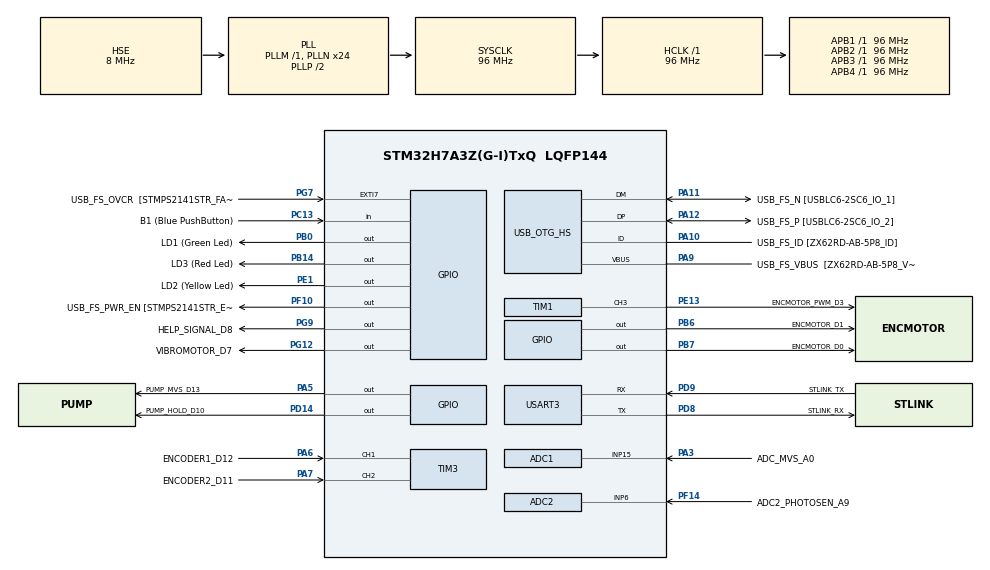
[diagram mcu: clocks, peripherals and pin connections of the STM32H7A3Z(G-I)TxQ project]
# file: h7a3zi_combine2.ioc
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ADC1.Channel-0\#ChannelRegularConversion=ADC_CHANNEL_15
ADC1.NbrOfConversionFlag=1
ADC1.OffsetNumber-0\#ChannelRegularConversion=ADC_OFFSET_NONE
ADC1.OffsetSignedSaturation-0\#ChannelRegularConversion=DISABLE
ADC1.Rank-0\#ChannelRegularConversion=1
ADC1.SamplingTime-0\#ChannelRegularConversion=ADC_SAMPLETIME_1CYCLE_5
ADC1.master=1
ADC2.Channel-1\#ChannelRegularConversion=ADC_CHANNEL_6
ADC2.NbrOfConversionFlag=1
ADC2.OffsetNumber-1\#ChannelRegularConversion=ADC_OFFSET_NONE
ADC2.OffsetSignedSaturation-1\#ChannelRegularConversion=DISABLE
ADC2.Rank-1\#ChannelRegularConversion=1
ADC2.SamplingTime-1\#ChannelRegularConversion=ADC_SAMPLETIME_1CYCLE_5
Mcu.Family=STM32H7
Mcu.Name=STM32H7A3Z(G-I)TxQ
Mcu.Package=LQFP144
NVIC.PriorityGroup=NVIC_PRIORITYGROUP_4
PA10.GPIO_Label=USB_FS_ID [ZX62RD-AB-5P8_ID]
PA10.Mode=OTG/Dual-Role-Device-FS
PA10.Signal=USB_OTG_HS_ID
PA11.GPIO_Label=USB_FS_N [USBLC6-2SC6_IO_1]
PA11.Mode=OTG/Dual-Role-Device-FS
PA11.Signal=USB_OTG_HS_DM
PA12.GPIO_Label=USB_FS_P [USBLC6-2SC6_IO_2]
PA12.Mode=OTG/Dual-Role-Device-FS
PA12.Signal=USB_OTG_HS_DP
PA3.GPIO_Label=ADC_MVS_A0
PA3.Mode=IN15-Single-Ended
PA3.Signal=ADC1_INP15
PA5.GPIO_Label=PUMP_MVS_D13
PA5.Signal=GPIO_Output
PA6.GPIO_Label=ENCODER1_D12
PA6.Signal=S_TIM3_CH1
PA7.GPIO_Label=ENCODER2_D11
PA7.Signal=S_TIM3_CH2
PA9.GPIO_Label=USB_FS_VBUS  [ZX62RD-AB-5P8_VBUS]
PA9.Mode=Activate_VBUS_FS
PA9.Signal=USB_OTG_HS_VBUS
PB0.GPIO_Label=LD1 (Green Led)
PB0.Signal=GPIO_Output
PB14.GPIO_Label=LD3 (Red Led)
PB14.Signal=GPIO_Output
PB6.GPIO_Label=ENCMOTOR_D1
PB6.GPIO_PuPd=GPIO_NOPULL
PB6.Signal=GPIO_Output
PB7.GPIO_Label=ENCMOTOR_D0
PB7.GPIO_PuPd=GPIO_NOPULL
PB7.Signal=GPIO_Output
PC13.GPIO_Label=B1 (Blue PushButton)
PC13.Signal=GPIO_Input
PC14-OSC32_IN.GPIO_Label=OSC32_IN
PC14-OSC32_IN.Mode=LSE-External-Oscillator
PC14-OSC32_IN.Signal=RCC_OSC32_IN
PC15-OSC32_OUT.GPIO_Label=OSC32_OUT
PC15-OSC32_OUT.Mode=LSE-External-Oscillator
PC15-OSC32_OUT.Signal=RCC_OSC32_OUT
PD14.GPIO_Label=PUMP_HOLD_D10
PD14.Signal=GPIO_Output
PD8.GPIO_Label=STLINK_RX
PD8.Mode=Asynchronous
PD8.Signal=USART3_TX
PD9.GPIO_Label=STLINK_TX
PD9.Mode=Asynchronous
PD9.Signal=USART3_RX
PE1.GPIO_Label=LD2 (Yellow Led)
PE1.Signal=GPIO_Output
PE13.GPIO_Label=ENCMOTOR_PWM_D3
PE13.Signal=S_TIM1_CH3
PF10.GPIO_Label=USB_FS_PWR_EN [STMPS2141STR_EN]
PF10.Signal=GPIO_Output
PF14.GPIO_Label=ADC2_PHOTOSEN_A9
PF14.Mode=IN6-Single-Ended
PF14.Signal=ADC2_INP6
PG12.GPIO_Label=VIBROMOTOR_D7
PG12.Signal=GPIO_Output
PG7.GPIO_Label=USB_FS_OVCR  [STMPS2141STR_FAULT]
PG7.Signal=GPXTI7
PG9.GPIO_Label=HELP_SIGNAL_D8
PG9.Signal=GPIO_Output
PH0-OSC_IN.GPIO_Label=PH0-MCU
PH0-OSC_IN.Mode=HSE-External-Oscillator
PH0-OSC_IN.Signal=RCC_OSC_IN
PH1-OSC_OUT.GPIO_Label=PH1-MCU
PH1-OSC_OUT.Mode=HSE-External-Oscillator
PH1-OSC_OUT.Signal=RCC_OSC_OUT
ProjectManager.HeapSize=0x200
ProjectManager.StackSize=0x400
ProjectManager.TargetToolchain=STM32CubeIDE
RCC.ADCFreq_Value=32000000
RCC.APB1Freq_Value=96000000
RCC.APB2Freq_Value=96000000
RCC.APB3Freq_Value=96000000
RCC.APB4Freq_Value=96000000
RCC.CortexFreq_Value=96000000
RCC.DIVM1=1
RCC.DIVM2=1
RCC.DIVM3=1
RCC.DIVN1=24
RCC.DIVN2=16
RCC.DIVN3=24
RCC.DIVP2=4
RCC.DIVQ1=4
RCC.HCLKFreq_Value=96000000
RCC.HSE_VALUE=8000000
RCC.PLLFRACN=0
RCC.PLLSourceVirtual=RCC_PLLSOURCE_HSE
RCC.PWR_Regulator_Voltage_Scale=PWR_REGULATOR_VOLTAGE_SCALE0
RCC.SYSCLKFreq_VALUE=96000000
RCC.SYSCLKSource=RCC_SYSCLKSOURCE_PLLCLK
RCC.SupplySource=PWR_DIRECT_SMPS_SUPPLY
RCC.USBCLockSelection=RCC_USBCLKSOURCE_HSI48
RCC.USBFreq_Value=48000000
SH.S_TIM1_CH3.0=TIM1_CH3,PWM Generation3 CH3
SH.S_TIM3_CH1.0=TIM3_CH1,Encoder_Interface
SH.S_TIM3_CH2.0=TIM3_CH2,Encoder_Interface
TIM1.AutoReloadPreload=TIM_AUTORELOAD_PRELOAD_ENABLE
TIM1.Channel-PWM\ Generation3\ CH3=TIM_CHANNEL_3
TIM1.Pulse-PWM\ Generation3\ CH3=20
TIM16.Period=20000-1
TIM16.Prescaler=9600-1
TIM3.EncoderMode=TIM_ENCODERMODE_TI12
USART3.VirtualMode-Asynchronous=VM_ASYNC
VP_MEMORYMAP_VS_MEMORYMAP.Mode=CurAppReg
VP_TIM16_VS_ClockSourceINT.Mode=Enable_Timer
VP_TIM1_VS_ClockSourceINT.Mode=Internal
board=NUCLEO-H7A3ZI-Q

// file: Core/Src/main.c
/* USER CODE BEGIN Header */
/**
 ******************************************************************************
 * @file           : main.c
 * @brief          : Main program body
 ******************************************************************************
 * @attention
 *
 * Copyright (c) 2022 STMicroelectronics.
 * All rights reserved.
 *
 * This software is licensed under terms that can be found in the LICENSE file
 * in the root directory of this software component.
 * If no LICENSE file comes with this software, it is provided AS-IS.
 *
 ******************************************************************************
 */
/* USER CODE END Header */
#include "main.h"

/* USER CODE BEGIN Includes */
#include "../Inc/motor_encoder.h"
#include "../Inc/photosensor.h"
#include "../Inc/uart_transmit.h"
#include <stdbool.h>
#include <stdint.h>
#include <stdio.h>
#include <string.h>
#include <sys/types.h>
/* USER CODE END Includes */

/* USER CODE BEGIN PTD */
struct MeasureData {
  uint16_t signal[100000];
  int t_vibr_start;
  int t_first_pulse;
  int t_end;
  int pulses;
  int htime;
  int count;
  bool open_before_vibr;
  bool open_after_vibr;
  bool bad;
} Meas;

/* USER CODE END PTD */

ADC_HandleTypeDef hadc1;
ADC_HandleTypeDef hadc2;

TIM_HandleTypeDef htim1;
TIM_HandleTypeDef htim3;
TIM_HandleTypeDef htim16;

UART_HandleTypeDef huart3;

/* USER CODE BEGIN PV */
encoder_instance enc_instance;

// NOTE: 1348 is not exact 180°, it needs to be measured!
const int32_t PI = 1348;   // for prev. motor it was 445
const int SENSITIVITY = 5; // min. amount of pulses

/* USER CODE END PV */

void SystemClock_Config(void);
void PeriphCommonClock_Config(void);
static void MX_GPIO_Init(void);
static void MX_USART3_UART_Init(void);
static void MX_USB_OTG_HS_USB_Init(void);
static void MX_ADC1_Init(void);
static void MX_TIM16_Init(void);
static void MX_TIM3_Init(void);
static void MX_ADC2_Init(void);
static void MX_TIM1_Init(void);
/* USER CODE BEGIN PFP */
void measure(struct MeasureData *);
void analyse(struct MeasureData *);
void rotate(int32_t degree);
void uart_transmit_analog(void);
void uart_transmit_digital(void);
void uart_transmit_csv(void);

/* USER CODE END PFP */

/* USER CODE BEGIN 0 */

// true means MVS is detected
bool ph_state = false;
const int PH_TRIGGER = 30000;

/* USER CODE END 0 */

int main(void) {

  /* USER CODE BEGIN 1 */
  printf("Start!\n");
  Meas.count = 0;

  /* USER CODE END 1 */

  /* MCU Configuration--------------------------------------------------------*/

  /* Reset of all peripherals, Initializes the Flash interface and the Systick.
   */
  HAL_Init();

  /* USER CODE BEGIN Init */
  // HAL_GPIO_WritePin(GPIOG, GPIO_PIN_9, GPIO_PIN_RESET);

  /* USER CODE END Init */

  /* Configure the system clock */
  SystemClock_Config();

  /* Configure the peripherals common clocks */
  PeriphCommonClock_Config();

  /* Initialize all configured peripherals */
  MX_GPIO_Init();
  MX_USART3_UART_Init();
  MX_USB_OTG_HS_USB_Init();
  MX_ADC1_Init();
  MX_TIM16_Init();
  MX_TIM3_Init();
  MX_ADC2_Init();
  MX_TIM1_Init();
  /* USER CODE BEGIN 2 */

  // Enable PWM channel for motor control
  HAL_TIM_PWM_Start(&htim1, TIM_CHANNEL_3);
  // INIT Encoder
  reset_encoder(&enc_instance);
  // DutyCycle = CCR/ARR
  // 0.25 = CCR / 65535
  // CCR = x% * 65535
  // Writing a CCR register of timer 1, controlling the duty cycle of PWM
  // a value of 8000 is pretty decent
  // TIM1->CCR3 = 0.25 * 65535;
  TIM1->CCR3 = 0.10 * 65535;

  /***************************************************** TEST AREA
   * *****************************************************/

  // uart_transmit_msg("Hi!", &huart3);

  // for (int i = 0; i < 10; i++) {
  // int angle = 445 * i;
  // rotate(PI/2);
  //
  // rotate_motor(-445, &enc_instance, &htim3);
  // rotate_motor(PI/6, &enc_instance, &htim3);
  // uart_buf_len =
  //     sprintf(uart_buf, "Counter value = %ld\r\n", enc_instance.position);
  // HAL_UART_Transmit(&huart3, (uint8_t *)uart_buf, uart_buf_len, 100);
  //
  // HAL_Delay(1000);
  // };
  // measure(&Meas);
  // uart_transmit_array(Meas.signal,
  // sizeof(Meas.signal)/sizeof(Meas.signal[0]), &huart3);

  // FUN STUFF!
  // int32_t CH3_DC = 0;
  // while (CH3_DC < 65535) {
  //     TIM1->CCR3 = CH3_DC;
  //     CH3_DC += 70;
  //     HAL_Delay(1);
  // }
  //  while(CH3_DC > 0) {
  //     TIM1->CCR3 = CH3_DC;
  //     CH3_DC -= 70;
  //     HAL_Delay(1);
  // }

  // PHOTOSENSOR CHECK!
  // int raw;
  // HAL_ADC_Start(&hadc2);
  // HAL_ADC_PollForConversion(&hadc2, HAL_MAX_DELAY);
  // raw = HAL_ADC_GetValue(&hadc2);
  // uart_buf_len = sprintf(uart_buf, "raw =  %d\r\n", raw);
  // HAL_UART_Transmit(&huart3, (uint8_t *)uart_buf, uart_buf_len, 100);
  // bool test;
  // test = photosence(PH_TRIGGER, &hadc2);
  // uart_buf_len = sprintf(uart_buf, "test =  %d\r\n", test);
  // HAL_UART_Transmit(&huart3, (uint8_t *)uart_buf, uart_buf_len, 100);

  // HAL_GPIO_WritePin(PUMP_HOLD_D10_GPIO_Port, PUMP_HOLD_D10_Pin,
  // GPIO_PIN_SET); HAL_Delay(2000);

  // while (1) {
  //   measure(&Meas);
  //   analyse(&Meas);
  //   uart_transmit_csv();
  //   HAL_Delay(1000);
  // }
  // HAL_GPIO_WritePin(PUMP_MVS_D13_GPIO_Port, PUMP_MVS_D13_Pin, GPIO_PIN_SET);
  // HAL_Delay(1000);
  // rotate_motor(PI/6, &enc_instance, &htim3);
  uart_transmit_msg("MVS0608.02 Nr.20 | 30° tilt inc. each iteration | 12 measurements per MVS",
                    &huart3);
  for (int k = 1; k < 13; k++) {
    measure(&Meas);
    analyse(&Meas);
    uart_transmit_csv();
    HAL_Delay(500);
    rotate_motor(PI/6*k, &enc_instance, &htim3);
  };
  // rotate_motor(PI, &enc_instance, &htim3);
  // HAL_GPIO_WritePin(PUMP_MVS_D13_GPIO_Port, PUMP_MVS_D13_Pin,
  // GPIO_PIN_RESET); rotate_motor(PI, &enc_instance, &htim3); rotate(PI + PI /
  // 4); // good
  /* USER CODE END 2 */

  /* USER CODE BEGIN WHILE */
  while (1) {
    /* ACTUAL FLOW */

    // ph_state = photosence(PH_TRIGGER, &hadc2);
    // ph_state = true;

    if (ph_state == true) {
      // PUMP ON!
      HAL_GPIO_WritePin(PUMP_MVS_D13_GPIO_Port, PUMP_MVS_D13_Pin, GPIO_PIN_SET);
      HAL_Delay(2000);
      measure(&Meas);
      analyse(&Meas);
      uart_transmit_csv();
      // uart_transmit_csv(&Meas.count);

      if (Meas.bad == false && Meas.pulses > SENSITIVITY) {
        // rotate(PI);
        rotate_motor(PI, &enc_instance, &htim3);
        measure(&Meas);
        analyse(&Meas);
        uart_transmit_csv();
        // uart_transmit_csv(&Meas.count);

        if (Meas.bad == false && Meas.pulses > SENSITIVITY) {
          // rotate(PI + PI / 4); // good
          rotate_motor(PI + PI / 4, &enc_instance, &htim3);
          // PUMP OFF!
          // HAL_GPIO_WritePin(GPIOA, GPIO_PIN_5, GPIO_PIN_RESET);
        } else {
          // uart_transmit_csv(&Meas.count);
          uart_transmit_csv();
          // rotate(PI - PI / 4); // garbage
          rotate_motor(PI - PI / 4, &enc_instance, &htim3);
          // PUMP OFF!
          // HAL_GPIO_WritePin(GPIOA, GPIO_PIN_5, GPIO_PIN_RESET);
          HAL_Delay(1000);
        }

      } else {
        // uart_transmit_csv(&Meas.count);
        uart_transmit_csv();
        // rotate(PI - PI / 4);
        rotate_motor(PI - PI / 4, &enc_instance, &htim3);
        // PUMP OFF!
        HAL_GPIO_WritePin(GPIOA, GPIO_PIN_5, GPIO_PIN_RESET);
        HAL_Delay(1000);
      }

      // rotate(0);
      rotate_motor(0, &enc_instance, &htim3);
    }

    /* USER CODE END WHILE */

  }
}

void SystemClock_Config(void) {
  RCC_OscInitTypeDef RCC_OscInitStruct = {0};
  RCC_ClkInitTypeDef RCC_ClkInitStruct = {0};

  /*AXI clock gating */
  RCC->CKGAENR = 0xFFFFFFFF;

  /** Supply configuration update enable
   */
  HAL_PWREx_ConfigSupply(PWR_DIRECT_SMPS_SUPPLY);

  /** Configure the main internal regulator output voltage
   */
  __HAL_PWR_VOLTAGESCALING_CONFIG(PWR_REGULATOR_VOLTAGE_SCALE0);

  while (!__HAL_PWR_GET_FLAG(PWR_FLAG_VOSRDY)) {
  }

  /** Initializes the RCC Oscillators according to the specified parameters
   * in the RCC_OscInitTypeDef structure.
   */
  RCC_OscInitStruct.OscillatorType =
      RCC_OSCILLATORTYPE_HSI48 | RCC_OSCILLATORTYPE_HSE;
  RCC_OscInitStruct.HSEState = RCC_HSE_ON;
  RCC_OscInitStruct.HSI48State = RCC_HSI48_ON;
  RCC_OscInitStruct.PLL.PLLState = RCC_PLL_ON;
  RCC_OscInitStruct.PLL.PLLSource = RCC_PLLSOURCE_HSE;
  RCC_OscInitStruct.PLL.PLLM = 1;
  RCC_OscInitStruct.PLL.PLLN = 24;
  RCC_OscInitStruct.PLL.PLLP = 2;
  RCC_OscInitStruct.PLL.PLLQ = 4;
  RCC_OscInitStruct.PLL.PLLR = 2;
  RCC_OscInitStruct.PLL.PLLRGE = RCC_PLL1VCIRANGE_3;
  RCC_OscInitStruct.PLL.PLLVCOSEL = RCC_PLL1VCOWIDE;
  RCC_OscInitStruct.PLL.PLLFRACN = 0;
  if (HAL_RCC_OscConfig(&RCC_OscInitStruct) != HAL_OK) {
    Error_Handler();
  }

  /** Initializes the CPU, AHB and APB buses clocks
   */
  RCC_ClkInitStruct.ClockType = RCC_CLOCKTYPE_HCLK | RCC_CLOCKTYPE_SYSCLK |
                                RCC_CLOCKTYPE_PCLK1 | RCC_CLOCKTYPE_PCLK2 |
                                RCC_CLOCKTYPE_D3PCLK1 | RCC_CLOCKTYPE_D1PCLK1;
  RCC_ClkInitStruct.SYSCLKSource = RCC_SYSCLKSOURCE_PLLCLK;
  RCC_ClkInitStruct.SYSCLKDivider = RCC_SYSCLK_DIV1;
  RCC_ClkInitStruct.AHBCLKDivider = RCC_HCLK_DIV1;
  RCC_ClkInitStruct.APB3CLKDivider = RCC_APB3_DIV1;
  RCC_ClkInitStruct.APB1CLKDivider = RCC_APB1_DIV1;
  RCC_ClkInitStruct.APB2CLKDivider = RCC_APB2_DIV1;
  RCC_ClkInitStruct.APB4CLKDivider = RCC_APB4_DIV1;

  if (HAL_RCC_ClockConfig(&RCC_ClkInitStruct, FLASH_LATENCY_2) != HAL_OK) {
    Error_Handler();
  }
}

void PeriphCommonClock_Config(void) {
  RCC_PeriphCLKInitTypeDef PeriphClkInitStruct = {0};

  /** Initializes the peripherals clock
   */
  PeriphClkInitStruct.PeriphClockSelection = RCC_PERIPHCLK_ADC;
  PeriphClkInitStruct.PLL2.PLL2M = 1;
  PeriphClkInitStruct.PLL2.PLL2N = 16;
  PeriphClkInitStruct.PLL2.PLL2P = 4;
  PeriphClkInitStruct.PLL2.PLL2Q = 2;
  PeriphClkInitStruct.PLL2.PLL2R = 2;
  PeriphClkInitStruct.PLL2.PLL2RGE = RCC_PLL2VCIRANGE_3;
  PeriphClkInitStruct.PLL2.PLL2VCOSEL = RCC_PLL2VCOWIDE;
  PeriphClkInitStruct.PLL2.PLL2FRACN = 0;
  PeriphClkInitStruct.AdcClockSelection = RCC_ADCCLKSOURCE_PLL2;
  if (HAL_RCCEx_PeriphCLKConfig(&PeriphClkInitStruct) != HAL_OK) {
    Error_Handler();
  }
}

static void MX_ADC1_Init(void) {

  ADC_MultiModeTypeDef multimode = {0};
  ADC_ChannelConfTypeDef sConfig = {0};

  /** Common config
   */
  hadc1.Instance = ADC1;
  hadc1.Init.ClockPrescaler = ADC_CLOCK_ASYNC_DIV1;
  hadc1.Init.Resolution = ADC_RESOLUTION_16B;
  hadc1.Init.ScanConvMode = ADC_SCAN_DISABLE;
  hadc1.Init.EOCSelection = ADC_EOC_SINGLE_CONV;
  hadc1.Init.LowPowerAutoWait = DISABLE;
  hadc1.Init.ContinuousConvMode = DISABLE;
  hadc1.Init.NbrOfConversion = 1;
  hadc1.Init.DiscontinuousConvMode = DISABLE;
  hadc1.Init.ExternalTrigConv = ADC_SOFTWARE_START;
  hadc1.Init.ExternalTrigConvEdge = ADC_EXTERNALTRIGCONVEDGE_NONE;
  hadc1.Init.ConversionDataManagement = ADC_CONVERSIONDATA_DR;
  hadc1.Init.Overrun = ADC_OVR_DATA_PRESERVED;
  hadc1.Init.LeftBitShift = ADC_LEFTBITSHIFT_NONE;
  hadc1.Init.OversamplingMode = DISABLE;
  if (HAL_ADC_Init(&hadc1) != HAL_OK) {
    Error_Handler();
  }

  /** Configure the ADC multi-mode
   */
  multimode.Mode = ADC_MODE_INDEPENDENT;
  if (HAL_ADCEx_MultiModeConfigChannel(&hadc1, &multimode) != HAL_OK) {
    Error_Handler();
  }

  /** Configure Regular Channel
   */
  sConfig.Channel = ADC_CHANNEL_15;
  sConfig.Rank = ADC_REGULAR_RANK_1;
  sConfig.SamplingTime = ADC_SAMPLETIME_1CYCLE_5;
  sConfig.SingleDiff = ADC_SINGLE_ENDED;
  sConfig.OffsetNumber = ADC_OFFSET_NONE;
  sConfig.Offset = 0;
  sConfig.OffsetSignedSaturation = DISABLE;
  if (HAL_ADC_ConfigChannel(&hadc1, &sConfig) != HAL_OK) {
    Error_Handler();
  }
}

static void MX_ADC2_Init(void) {

  ADC_ChannelConfTypeDef sConfig = {0};

  /** Common config
   */
  hadc2.Instance = ADC2;
  hadc2.Init.ClockPrescaler = ADC_CLOCK_ASYNC_DIV1;
  hadc2.Init.Resolution = ADC_RESOLUTION_16B;
  hadc2.Init.ScanConvMode = ADC_SCAN_DISABLE;
  hadc2.Init.EOCSelection = ADC_EOC_SINGLE_CONV;
  hadc2.Init.LowPowerAutoWait = DISABLE;
  hadc2.Init.ContinuousConvMode = DISABLE;
  hadc2.Init.NbrOfConversion = 1;
  hadc2.Init.DiscontinuousConvMode = DISABLE;
  hadc2.Init.ExternalTrigConv = ADC_SOFTWARE_START;
  hadc2.Init.ExternalTrigConvEdge = ADC_EXTERNALTRIGCONVEDGE_NONE;
  hadc2.Init.ConversionDataManagement = ADC_CONVERSIONDATA_DR;
  hadc2.Init.Overrun = ADC_OVR_DATA_PRESERVED;
  hadc2.Init.LeftBitShift = ADC_LEFTBITSHIFT_NONE;
  hadc2.Init.OversamplingMode = DISABLE;
  if (HAL_ADC_Init(&hadc2) != HAL_OK) {
    Error_Handler();
  }

  /** Configure Regular Channel
   */
  sConfig.Channel = ADC_CHANNEL_6;
  sConfig.Rank = ADC_REGULAR_RANK_1;
  sConfig.SamplingTime = ADC_SAMPLETIME_1CYCLE_5;
  sConfig.SingleDiff = ADC_SINGLE_ENDED;
  sConfig.OffsetNumber = ADC_OFFSET_NONE;
  sConfig.Offset = 0;
  sConfig.OffsetSignedSaturation = DISABLE;
  if (HAL_ADC_ConfigChannel(&hadc2, &sConfig) != HAL_OK) {
    Error_Handler();
  }
}

static void MX_TIM1_Init(void) {

  TIM_ClockConfigTypeDef sClockSourceConfig = {0};
  TIM_MasterConfigTypeDef sMasterConfig = {0};
  TIM_OC_InitTypeDef sConfigOC = {0};
  TIM_BreakDeadTimeConfigTypeDef sBreakDeadTimeConfig = {0};

  htim1.Instance = TIM1;
  htim1.Init.Prescaler = 0;
  htim1.Init.CounterMode = TIM_COUNTERMODE_UP;
  htim1.Init.Period = 65535;
  htim1.Init.ClockDivision = TIM_CLOCKDIVISION_DIV1;
  htim1.Init.RepetitionCounter = 0;
  htim1.Init.AutoReloadPreload = TIM_AUTORELOAD_PRELOAD_ENABLE;
  if (HAL_TIM_Base_Init(&htim1) != HAL_OK) {
    Error_Handler();
  }
  sClockSourceConfig.ClockSource = TIM_CLOCKSOURCE_INTERNAL;
  if (HAL_TIM_ConfigClockSource(&htim1, &sClockSourceConfig) != HAL_OK) {
    Error_Handler();
  }
  if (HAL_TIM_PWM_Init(&htim1) != HAL_OK) {
    Error_Handler();
  }
  sMasterConfig.MasterOutputTrigger = TIM_TRGO_RESET;
  sMasterConfig.MasterOutputTrigger2 = TIM_TRGO2_RESET;
  sMasterConfig.MasterSlaveMode = TIM_MASTERSLAVEMODE_DISABLE;
  if (HAL_TIMEx_MasterConfigSynchronization(&htim1, &sMasterConfig) != HAL_OK) {
    Error_Handler();
  }
  sConfigOC.OCMode = TIM_OCMODE_PWM1;
  sConfigOC.Pulse = 20;
  sConfigOC.OCPolarity = TIM_OCPOLARITY_HIGH;
  sConfigOC.OCNPolarity = TIM_OCNPOLARITY_HIGH;
  sConfigOC.OCFastMode = TIM_OCFAST_DISABLE;
  sConfigOC.OCIdleState = TIM_OCIDLESTATE_RESET;
  sConfigOC.OCNIdleState = TIM_OCNIDLESTATE_RESET;
  if (HAL_TIM_PWM_ConfigChannel(&htim1, &sConfigOC, TIM_CHANNEL_3) != HAL_OK) {
    Error_Handler();
  }
  sBreakDeadTimeConfig.OffStateRunMode = TIM_OSSR_DISABLE;
  sBreakDeadTimeConfig.OffStateIDLEMode = TIM_OSSI_DISABLE;
  sBreakDeadTimeConfig.LockLevel = TIM_LOCKLEVEL_OFF;
  sBreakDeadTimeConfig.DeadTime = 0;
  sBreakDeadTimeConfig.BreakState = TIM_BREAK_DISABLE;
  sBreakDeadTimeConfig.BreakPolarity = TIM_BREAKPOLARITY_HIGH;
  sBreakDeadTimeConfig.BreakFilter = 0;
  sBreakDeadTimeConfig.Break2State = TIM_BREAK2_DISABLE;
  sBreakDeadTimeConfig.Break2Polarity = TIM_BREAK2POLARITY_HIGH;
  sBreakDeadTimeConfig.Break2Filter = 0;
  sBreakDeadTimeConfig.AutomaticOutput = TIM_AUTOMATICOUTPUT_DISABLE;
  if (HAL_TIMEx_ConfigBreakDeadTime(&htim1, &sBreakDeadTimeConfig) != HAL_OK) {
    Error_Handler();
  }
  HAL_TIM_MspPostInit(&htim1);
}

static void MX_TIM3_Init(void) {

  TIM_Encoder_InitTypeDef sConfig = {0};
  TIM_MasterConfigTypeDef sMasterConfig = {0};

  htim3.Instance = TIM3;
  htim3.Init.Prescaler = 0;
  htim3.Init.CounterMode = TIM_COUNTERMODE_UP;
  htim3.Init.Period = 65535;
  htim3.Init.ClockDivision = TIM_CLOCKDIVISION_DIV1;
  htim3.Init.AutoReloadPreload = TIM_AUTORELOAD_PRELOAD_DISABLE;
  sConfig.EncoderMode = TIM_ENCODERMODE_TI12;
  sConfig.IC1Polarity = TIM_ICPOLARITY_RISING;
  sConfig.IC1Selection = TIM_ICSELECTION_DIRECTTI;
  sConfig.IC1Prescaler = TIM_ICPSC_DIV1;
  sConfig.IC1Filter = 0;
  sConfig.IC2Polarity = TIM_ICPOLARITY_RISING;
  sConfig.IC2Selection = TIM_ICSELECTION_DIRECTTI;
  sConfig.IC2Prescaler = TIM_ICPSC_DIV1;
  sConfig.IC2Filter = 0;
  if (HAL_TIM_Encoder_Init(&htim3, &sConfig) != HAL_OK) {
    Error_Handler();
  }
  sMasterConfig.MasterOutputTrigger = TIM_TRGO_RESET;
  sMasterConfig.MasterSlaveMode = TIM_MASTERSLAVEMODE_DISABLE;
  if (HAL_TIMEx_MasterConfigSynchronization(&htim3, &sMasterConfig) != HAL_OK) {
    Error_Handler();
  }
  /* USER CODE BEGIN TIM3_Init 2 */
  HAL_TIM_Encoder_Start(&htim3, TIM_CHANNEL_ALL);
  /* USER CODE END TIM3_Init 2 */
}

static void MX_TIM16_Init(void) {

  htim16.Instance = TIM16;
  htim16.Init.Prescaler = 9600 - 1;
  htim16.Init.CounterMode = TIM_COUNTERMODE_UP;
  htim16.Init.Period = 20000 - 1;
  htim16.Init.ClockDivision = TIM_CLOCKDIVISION_DIV1;
  htim16.Init.RepetitionCounter = 0;
  htim16.Init.AutoReloadPreload = TIM_AUTORELOAD_PRELOAD_DISABLE;
  if (HAL_TIM_Base_Init(&htim16) != HAL_OK) {
    Error_Handler();
  }
}

static void MX_USART3_UART_Init(void) {

  huart3.Instance = USART3;
  huart3.Init.BaudRate = 115200;
  huart3.Init.WordLength = UART_WORDLENGTH_8B;
  huart3.Init.StopBits = UART_STOPBITS_1;
  huart3.Init.Parity = UART_PARITY_NONE;
  huart3.Init.Mode = UART_MODE_TX_RX;
  huart3.Init.HwFlowCtl = UART_HWCONTROL_NONE;
  huart3.Init.OverSampling = UART_OVERSAMPLING_16;
  huart3.Init.OneBitSampling = UART_ONE_BIT_SAMPLE_DISABLE;
  huart3.Init.ClockPrescaler = UART_PRESCALER_DIV1;
  huart3.AdvancedInit.AdvFeatureInit = UART_ADVFEATURE_NO_INIT;
  if (HAL_UART_Init(&huart3) != HAL_OK) {
    Error_Handler();
  }
  if (HAL_UARTEx_SetTxFifoThreshold(&huart3, UART_TXFIFO_THRESHOLD_1_8) !=
      HAL_OK) {
    Error_Handler();
  }
  if (HAL_UARTEx_SetRxFifoThreshold(&huart3, UART_RXFIFO_THRESHOLD_1_8) !=
      HAL_OK) {
    Error_Handler();
  }
  if (HAL_UARTEx_DisableFifoMode(&huart3) != HAL_OK) {
    Error_Handler();
  }
}

static void MX_USB_OTG_HS_USB_Init(void) {

}

static void MX_GPIO_Init(void) {
  GPIO_InitTypeDef GPIO_InitStruct = {0};

  /* GPIO Ports Clock Enable */
  __HAL_RCC_GPIOC_CLK_ENABLE();
  __HAL_RCC_GPIOF_CLK_ENABLE();
  __HAL_RCC_GPIOH_CLK_ENABLE();
  __HAL_RCC_GPIOA_CLK_ENABLE();
  __HAL_RCC_GPIOB_CLK_ENABLE();
  __HAL_RCC_GPIOE_CLK_ENABLE();
  __HAL_RCC_GPIOD_CLK_ENABLE();
  __HAL_RCC_GPIOG_CLK_ENABLE();

  /*Configure GPIO pin Output Level */
  HAL_GPIO_WritePin(USB_FS_PWR_EN_GPIO_Port, USB_FS_PWR_EN_Pin, GPIO_PIN_RESET);

  /*Configure GPIO pin Output Level */
  HAL_GPIO_WritePin(PUMP_MVS_D13_GPIO_Port, PUMP_MVS_D13_Pin, GPIO_PIN_RESET);

  /*Configure GPIO pin Output Level */
  HAL_GPIO_WritePin(GPIOB,
                    LD1_Pin | LD3_Pin | ENCMOTOR_D1_Pin | ENCMOTOR_D0_Pin,
                    GPIO_PIN_RESET);

  /*Configure GPIO pin Output Level */
  HAL_GPIO_WritePin(PUMP_HOLD_D10_GPIO_Port, PUMP_HOLD_D10_Pin, GPIO_PIN_RESET);

  /*Configure GPIO pin Output Level */
  HAL_GPIO_WritePin(GPIOG, HELP_SIGNAL_D8_Pin | VIBROMOTOR_D7_Pin,
                    GPIO_PIN_RESET);

  /*Configure GPIO pin Output Level */
  HAL_GPIO_WritePin(LD2_GPIO_Port, LD2_Pin, GPIO_PIN_RESET);

  /*Configure GPIO pin : B1_Pin */
  GPIO_InitStruct.Pin = B1_Pin;
  GPIO_InitStruct.Mode = GPIO_MODE_INPUT;
  GPIO_InitStruct.Pull = GPIO_NOPULL;
  HAL_GPIO_Init(B1_GPIO_Port, &GPIO_InitStruct);

  /*Configure GPIO pin : USB_FS_PWR_EN_Pin */
  GPIO_InitStruct.Pin = USB_FS_PWR_EN_Pin;
  GPIO_InitStruct.Mode = GPIO_MODE_OUTPUT_PP;
  GPIO_InitStruct.Pull = GPIO_NOPULL;
  GPIO_InitStruct.Speed = GPIO_SPEED_FREQ_LOW;
  HAL_GPIO_Init(USB_FS_PWR_EN_GPIO_Port, &GPIO_InitStruct);

  /*Configure GPIO pin : PUMP_MVS_D13_Pin */
  GPIO_InitStruct.Pin = PUMP_MVS_D13_Pin;
  GPIO_InitStruct.Mode = GPIO_MODE_OUTPUT_PP;
  GPIO_InitStruct.Pull = GPIO_NOPULL;
  GPIO_InitStruct.Speed = GPIO_SPEED_FREQ_LOW;
  HAL_GPIO_Init(PUMP_MVS_D13_GPIO_Port, &GPIO_InitStruct);

  /*Configure GPIO pins : LD1_Pin LD3_Pin ENCMOTOR_D1_Pin ENCMOTOR_D0_Pin */
  GPIO_InitStruct.Pin = LD1_Pin | LD3_Pin | ENCMOTOR_D1_Pin | ENCMOTOR_D0_Pin;
  GPIO_InitStruct.Mode = GPIO_MODE_OUTPUT_PP;
  GPIO_InitStruct.Pull = GPIO_NOPULL;
  GPIO_InitStruct.Speed = GPIO_SPEED_FREQ_LOW;
  HAL_GPIO_Init(GPIOB, &GPIO_InitStruct);

  /*Configure GPIO pin : PUMP_HOLD_D10_Pin */
  GPIO_InitStruct.Pin = PUMP_HOLD_D10_Pin;
  GPIO_InitStruct.Mode = GPIO_MODE_OUTPUT_PP;
  GPIO_InitStruct.Pull = GPIO_NOPULL;
  GPIO_InitStruct.Speed = GPIO_SPEED_FREQ_LOW;
  HAL_GPIO_Init(PUMP_HOLD_D10_GPIO_Port, &GPIO_InitStruct);

  /*Configure GPIO pin : USB_FS_OVCR_Pin */
  GPIO_InitStruct.Pin = USB_FS_OVCR_Pin;
  GPIO_InitStruct.Mode = GPIO_MODE_IT_RISING;
  GPIO_InitStruct.Pull = GPIO_NOPULL;
  HAL_GPIO_Init(USB_FS_OVCR_GPIO_Port, &GPIO_InitStruct);

  /*Configure GPIO pin : USB_FS_VBUS_Pin */
  GPIO_InitStruct.Pin = USB_FS_VBUS_Pin;
  GPIO_InitStruct.Mode = GPIO_MODE_INPUT;
  GPIO_InitStruct.Pull = GPIO_NOPULL;
  HAL_GPIO_Init(USB_FS_VBUS_GPIO_Port, &GPIO_InitStruct);

  /*Configure GPIO pin : USB_FS_ID_Pin */
  GPIO_InitStruct.Pin = USB_FS_ID_Pin;
  GPIO_InitStruct.Mode = GPIO_MODE_AF_PP;
  GPIO_InitStruct.Pull = GPIO_NOPULL;
  GPIO_InitStruct.Speed = GPIO_SPEED_FREQ_LOW;
  GPIO_InitStruct.Alternate = GPIO_AF10_OTG1_HS;
  HAL_GPIO_Init(USB_FS_ID_GPIO_Port, &GPIO_InitStruct);

  /*Configure GPIO pins : USB_FS_N_Pin USB_FS_P_Pin */
  GPIO_InitStruct.Pin = USB_FS_N_Pin | USB_FS_P_Pin;
  GPIO_InitStruct.Mode = GPIO_MODE_AF_PP;
  GPIO_InitStruct.Pull = GPIO_NOPULL;
  GPIO_InitStruct.Speed = GPIO_SPEED_FREQ_LOW;
  HAL_GPIO_Init(GPIOA, &GPIO_InitStruct);

  /*Configure GPIO pins : HELP_SIGNAL_D8_Pin VIBROMOTOR_D7_Pin */
  GPIO_InitStruct.Pin = HELP_SIGNAL_D8_Pin | VIBROMOTOR_D7_Pin;
  GPIO_InitStruct.Mode = GPIO_MODE_OUTPUT_PP;
  GPIO_InitStruct.Pull = GPIO_NOPULL;
  GPIO_InitStruct.Speed = GPIO_SPEED_FREQ_LOW;
  HAL_GPIO_Init(GPIOG, &GPIO_InitStruct);

  /*Configure GPIO pin : LD2_Pin */
  GPIO_InitStruct.Pin = LD2_Pin;
  GPIO_InitStruct.Mode = GPIO_MODE_OUTPUT_PP;
  GPIO_InitStruct.Pull = GPIO_NOPULL;
  GPIO_InitStruct.Speed = GPIO_SPEED_FREQ_LOW;
  HAL_GPIO_Init(LD2_GPIO_Port, &GPIO_InitStruct);

}

/* USER CODE BEGIN 4 */

/* needed for proper configuration of SWV ITM Data Console aka. output printf()
 */
int _write(int file, char *ptr, int len) {
  int DataIdx;

  for (DataIdx = 0; DataIdx < len; DataIdx++) {
    ITM_SendChar(*ptr++);
  }
  return len;
}

void measure(struct MeasureData *s) {
  const int ONESEC = 10000 - 1;
  // store our counter value
  int tim_val_ms = 0; // tick is 0.1 ms

  bool is_vibrating = false;
  // store our 16bit ADC reading
  uint16_t raw;
  // starting timer 16
  HAL_TIM_Base_Start(&htim16);
  /* UNCOMMENT TO: set help signal (yellow led) */
  // HAL_GPIO_WritePin(GPIOG, GPIO_PIN_9, GPIO_PIN_SET);

  for (int i = 0; tim_val_ms < ONESEC; i++) {

    if (!is_vibrating && tim_val_ms >= ONESEC * 0.2 &&
        tim_val_ms < ONESEC * 0.3) {
      HAL_GPIO_WritePin(GPIOG, GPIO_PIN_12, GPIO_PIN_SET); // vibrator ON
      // saving time of begin vibration
      s->t_vibr_start = i;
      is_vibrating = true;
    } else if (is_vibrating && tim_val_ms >= ONESEC * 0.4) {
      HAL_GPIO_WritePin(GPIOG, GPIO_PIN_12, GPIO_PIN_RESET); // vibrator OFF
      is_vibrating = false;
    }

    // ADC routine
    HAL_ADC_Start(&hadc1);
    HAL_ADC_PollForConversion(&hadc1, HAL_MAX_DELAY);
    raw = HAL_ADC_GetValue(&hadc1);
    // needed to save the last iterator i
    s->t_end = i;
    // remember the last element of array will be 0, the counter will be
    // increased but array not filled
    s->signal[i] = raw;
    tim_val_ms = __HAL_TIM_GET_COUNTER(&htim16);
  }
  // stoping and reseting timer 16
  HAL_TIM_Base_Stop_IT(&htim16);
  __HAL_TIM_SET_COUNTER(&htim16, 0);
  s->pulses = 0;
  s->htime = 0;
  /* UNCOMMENT TO: reset help signal (yellow led) */
  // HAL_GPIO_WritePin(GPIOG, GPIO_PIN_9, GPIO_PIN_RESET);
  s->count++;
}

void analyse(struct MeasureData *s) {
  // digitalize signal v:[0,1]
  const int TRIGGER = 39718;
  const int SCALE = 1000;

  for (int i = 0; i < s->t_end; i++) {
    if (s->signal[i] < TRIGGER) { // aprox. 2V  TODO: change it to 1V
      s->signal[i] = 0;
    } else {
      s->signal[i] = 1;
    }
  }
  // count pulses
  for (int i = 0; i < s->t_end; i++) {
    int edge = s->signal[i + 1] - s->signal[i];
    if (edge == 1) { // count only negative pulses
      s->pulses++;
    }
    if (s->signal[i] == 1) {
      s->htime++;
    }
  }

  s->bad = false;
  s->open_before_vibr = false;
  s->open_after_vibr = false;

  // check if sensor has been open before vibration
  for (int i = 0; i <= s->t_vibr_start; i++) {
    if (s->signal[i] == 0) {
      s->open_before_vibr = true;
      s->bad = true;
      break;
    }
  }
  // check if sensor has been open after vibration + Einschwingungszeit
  for (int i = (int)(s->t_end * 0.75); i < s->t_end; i++) {
    if (s->signal[i] == 0) {
      s->open_after_vibr = true;
      s->bad = true;
      break;
    }
  }
  // check if sensor is not short connected all time
  if (s->pulses == 0) {
    s->bad = true;
  }
  // find and save first pulse after vibration
  for (int i = s->t_vibr_start; i <= s->t_end; i++) {
    if (s->signal[i] == 0) {
      s->t_first_pulse = i;
      break;
    }
  }
  // resolve the variables to human readable values
  s->htime = s->htime * SCALE / s->t_end;
  s->t_vibr_start = s->t_vibr_start * SCALE / s->t_end;
  s->t_first_pulse = s->t_first_pulse * SCALE / s->t_end;
}

void rotate(int32_t degree) {
  bool angle = false;
  while (angle == false) {

    if (encoder_position == degree) {
      HAL_GPIO_WritePin(GPIOB, GPIO_PIN_7, GPIO_PIN_RESET);
      HAL_GPIO_WritePin(GPIOB, GPIO_PIN_6, GPIO_PIN_RESET);
      angle = true;
      break;
    } else if (encoder_position > degree) {
      HAL_GPIO_WritePin(GPIOB, GPIO_PIN_7, GPIO_PIN_SET);
      HAL_GPIO_WritePin(GPIOB, GPIO_PIN_6, GPIO_PIN_RESET);

    } else if (encoder_position < degree) {
      HAL_GPIO_WritePin(GPIOB, GPIO_PIN_7, GPIO_PIN_RESET);
      HAL_GPIO_WritePin(GPIOB, GPIO_PIN_6, GPIO_PIN_SET);
    }

    // timer_counter = __HAL_TIM_GET_COUNTER(&htim3);
    update_encoder(&enc_instance, &htim3);
    encoder_position = enc_instance.position;
    /* UNCOMMENT TO: transmit encoder position */
    uart_buf_len =
        sprintf(uart_buf, "Counter value = %ld\r\n", encoder_position);
    HAL_UART_Transmit(&huart3, (uint8_t *)uart_buf, uart_buf_len, 100);
  }
}

void uart_transmit_analog(void) {
  /* Transmit an array with ANALOG data via uart */
  for (int j = 0; j < Meas.t_end; j++) {
    uart_buf_len = sprintf(uart_buf, "%d, %u \r\n", j, Meas.signal[j]);
    HAL_UART_Transmit(&huart3, (uint8_t *)uart_buf, uart_buf_len, 100);
  }
}
void uart_transmit_digital(void) {
  /* Transmit an array with DIGITAL data via uart */
  uart_buf_len = sprintf(uart_buf, "Digital \n");
  HAL_UART_Transmit(&huart3, (uint8_t *)uart_buf, uart_buf_len, 100);
  for (int j = 0; j < Meas.t_end; j++) {
    uart_buf_len = sprintf(uart_buf, "%d, %u \r\n", j, Meas.signal[j]);
    HAL_UART_Transmit(&huart3, (uint8_t *)uart_buf, uart_buf_len, 100);
  }
}

void uart_transmit_csv() {
  uart_transmit_table(&Meas.count, &Meas.pulses, &Meas.htime,
                      &Meas.t_vibr_start, &Meas.t_first_pulse,
                      &Meas.open_before_vibr, &Meas.open_after_vibr, &Meas.bad,
                      &huart3);
}

/* USER CODE END 4 */

void Error_Handler(void) {
  /* USER CODE BEGIN Error_Handler_Debug */
  /* User can add his own implementation to report the HAL error return state
   */
  __disable_irq();
  while (1) {
  }
  /* USER CODE END Error_Handler_Debug */
}

#ifdef USE_FULL_ASSERT
/**
 * @brief  Reports the name of the source file and the source line number
 *         where the assert_param error has occurred.
 * @param  file: pointer to the source file name
 * @param  line: assert_param error line source number
 * @retval None
 */
void assert_failed(uint8_t *file, uint32_t line) {
  /* USER CODE BEGIN 6 */
  /* User can add his own implementation to report the file name and line
     number, ex: printf("Wrong parameters value: file %s on line %d\r\n",
     file, line) */
  /* USER CODE END 6 */
}
#endif /* USE_FULL_ASSERT */
